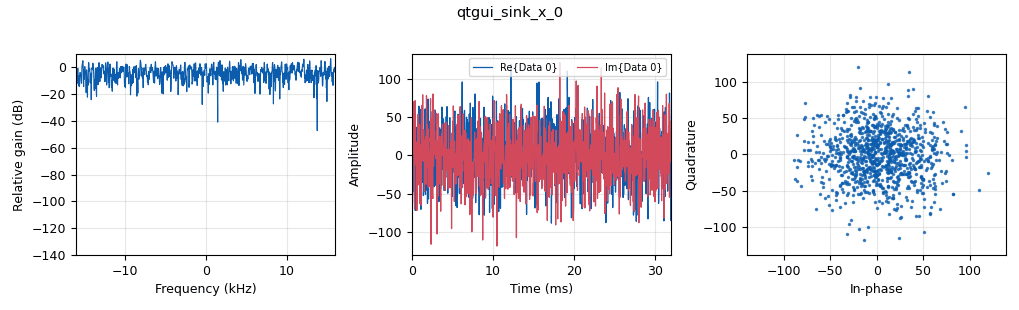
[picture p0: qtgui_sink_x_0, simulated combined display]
options:
  parameters:
    generate_options: qt_gui
    id: signalJam
    output_language: python
    title: Signal Jammer
  states: {}

blocks:
- name: samp_rate
  id: variable
  parameters:
    value: '32000'
  states: {}
- name: target_freq
  id: variable
  parameters:
    value: 2.41e9
  states: {}
- name: analog_noise_source_x_0
  id: analog_noise_source_x
  parameters:
    amp: '50'
    noise_type: analog.GR_GAUSSIAN
    seed: '0'
    type: complex
  states: {}
- name: osmosdr_sink_0
  id: osmosdr_sink
  parameters:
    bb_gain0: '20'
    bw0: 20e6
    freq0: target_freq
    gain0: '50'
    if_gain0: '20'
    sample_rate: samp_rate
    sync: sync
    type: fc32
  states: {}
- name: qtgui_sink_x_0
  id: qtgui_sink_x
  parameters:
    bw: samp_rate
    fc: '0'
    fftsize: '1024'
    rate: '15'
    type: complex
  states: {}

connections:
- [analog_noise_source_x_0, '0', osmosdr_sink_0, '0']
- [analog_noise_source_x_0, '0', qtgui_sink_x_0, '0']

metadata:
  file_format: 1
